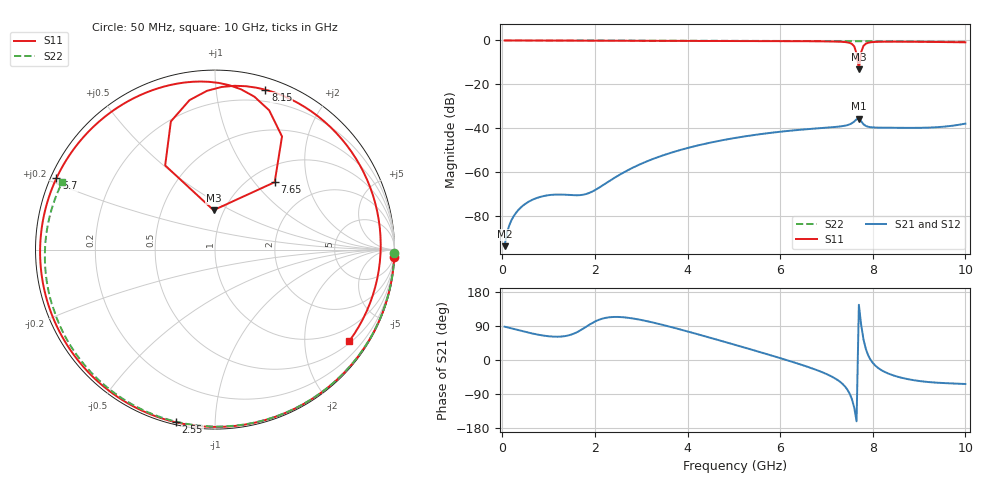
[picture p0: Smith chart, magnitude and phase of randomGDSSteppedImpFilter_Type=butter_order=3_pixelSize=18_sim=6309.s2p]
! freq	dB(S11)	phase(S11)	dB(S12)	phase(S12)
!  dB(S21)	phase(S21)	dB(S22)	phase(S22)
!S-par simulation data
#  GHz  S  DB  R 50
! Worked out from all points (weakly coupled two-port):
!   200 points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, 50 MHz to 10 GHz, reference 50 ohm
!   highest |S21| = -35.58 dB at 7.7 GHz (marker M1); lowest = -93.6 dB at 50 MHz (marker M2)
!   lowest |S11| = -13.2 dB at 7.7 GHz (marker M3), VSWR 1.56, Z = 44.7 + j20.6 ohm
!   |S11| at or under -10 dB: 7.678 GHz to 7.72 GHz (42.11 MHz wide, 0.547 % of centre)
!   |S22| runs from -0.6 to 0.0 dB; largest |S21 - S12| = 0
!   S11 on the Smith chart (normalised r, x): 50 MHz: 1, -51; 2.55 GHz: 0.01, -0.80; 5.7 GHz: 0.02, +0.21; 7.65 GHz: 1.28, +1.28; 8.15 GHz: 0.10, +1.36; 10 GHz: 0.56, -3.16
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0.05  -0.01 -2.2  -93.60 88.0  -93.60 88.0  -0.00 -1.2
0.25  -0.01 -11.0  -79.82 81.7  -79.82 81.7  -0.01 -5.9
0.5  -0.02 -21.9  -74.30 74.0  -74.30 74.0  -0.01 -11.8
0.85  -0.04 -36.9  -71.00 65.2  -71.00 65.2  -0.02 -20.0
1.75  -0.09 -73.3  -70.17 83.0  -70.17 83.0  -0.05 -40.6
2.55  -0.12 -102.8  -60.90 113.4  -60.90 113.4  -0.07 -58.3
3.4  -0.15 -131.4  -52.79 94.6  -52.79 94.6  -0.10 -76.3
4.25  -0.19 -158.4  -47.63 67.0  -47.63 67.0  -0.13 -93.5
5.05  -0.23 176.7  -44.28 39.2  -44.28 39.2  -0.16 -109.0
5.7  -0.28 155.8  -42.28 16.0  -42.28 16.0  -0.20 -121.2
6.7  -0.37 120.0  -40.17 -22.6  -40.17 -22.6  -0.27 -139.7
7.45  -0.87 80.7  -38.53 -77.9  -38.53 -77.9  -0.33 -153.5
7.55  -1.59 68.7  -37.66 -103.5  -37.66 -103.5  -0.34 -155.3
7.65  -5.99 48.5  -35.88 -161.8  -35.88 -161.8  -0.35 -157.2
7.7  -13.16 92.1  -35.58 145.7  -35.58 145.7  -0.36 -158.1
7.75  -5.28 120.6  -36.80 92.3  -36.80 92.3  -0.36 -159.0
7.8  -2.44 109.0  -38.14 54.0  -38.14 54.0  -0.36 -159.9
7.9  -1.05 92.9  -39.28 12.6  -39.28 12.6  -0.37 -161.8
8.15  -0.59 72.5  -39.67 -24.0  -39.67 -24.0  -0.39 -166.5
8.35  -0.55 60.6  -39.72 -36.5  -39.72 -36.5  -0.42 -170.3
9.2  -0.65 13.3  -39.66 -58.1  -39.66 -58.1  -0.51 173.1
10  -0.86 -34.2  -37.85 -63.3  -37.85 -63.3  -0.63 156.3
